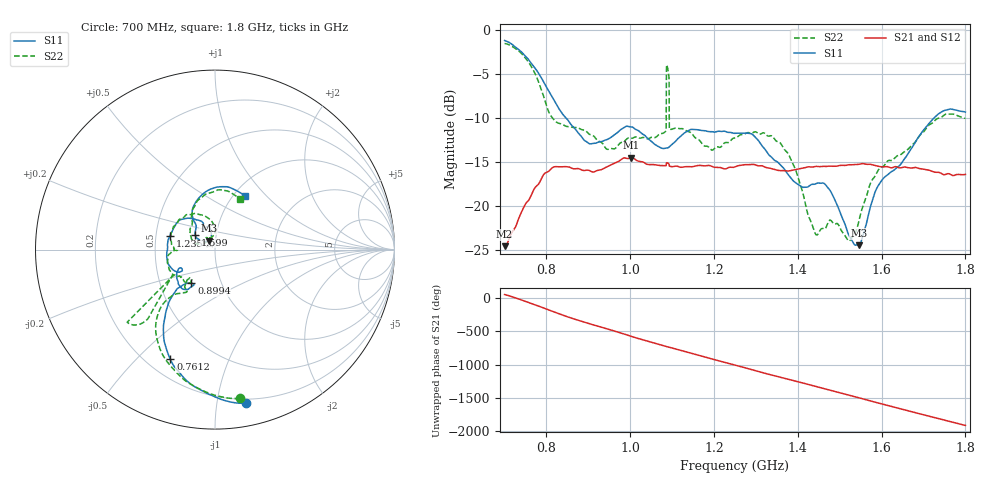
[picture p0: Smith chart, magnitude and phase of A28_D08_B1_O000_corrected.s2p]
! Created with skrf 1.9.0 (http://scikit-rf.org).
# Hz S RI R 50.0
!freq ReS11 ImS11 ReS21 ImS21 ReS12 ImS12 ReS22 ImS22
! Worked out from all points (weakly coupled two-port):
!   1601 points, 700 MHz to 1.8 GHz, reference 50 ohm
!   highest |S21| = -14.50 dB at 1.002 GHz (marker M1); lowest = -24.5 dB at 700 MHz (marker M2)
!   lowest |S11| = -24.4 dB at 1.546 GHz (marker M3), VSWR 1.13, Z = 46.4 + j4.56 ohm
!   |S11| at or under -10 dB: 847.3 MHz to 1.725 GHz (877.5 MHz wide, 68.2 % of centre)
!   |S22| runs from -24.0 to -1.5 dB; largest |S21 - S12| = 0.0037
!   S11 on the Smith chart (normalised r, x): 700 MHz: 0.17, -1.21; 761.2 MHz: 0.29, -0.63; 899.4 MHz: 0.72, -0.29; 1.235 GHz: 0.59, +0.10; 1.599 GHz: 0.79, +0.14; 1.8 GHz: 1.12, +0.76
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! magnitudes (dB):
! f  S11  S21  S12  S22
! 700 MHz  -1.2  -24.5  -24.3  -1.5
! 761.2 MHz  -3.6  -19.0  -18.9  -3.9
! 815.5 MHz  -7.7  -15.6  -15.7  -10.1
! 883.6 MHz  -12.1  -15.9  -15.8  -11.3
! 899.4 MHz  -12.8  -15.9  -15.9  -11.7
! 1.002 GHz  -11.0  -14.5  -14.6  -12.3
! 1.067 GHz  -13.2  -15.4  -15.3  -11.9
! 1.08 GHz  -13.4  -15.4  -15.4  -11.7
! 1.087 GHz  -13.4  -15.1  -15.0  -4.0
! 1.092 GHz  -13.3  -15.2  -15.2  -5.1
! 1.099 GHz  -13.0  -15.5  -15.5  -11.3
! 1.235 GHz  -11.6  -15.6  -15.7  -12.7
! 1.25 GHz  -11.7  -15.5  -15.5  -12.2
! 1.359 GHz  -15.3  -16.0  -15.9  -12.8
! 1.434 GHz  -17.5  -15.6  -15.5  -22.1
! 1.474 GHz  -18.0  -15.5  -15.5  -21.7
! 1.522 GHz  -23.3  -15.3  -15.3  -24.0
! 1.546 GHz  -24.4  -15.2  -15.2  -21.7
! 1.599 GHz  -17.1  -15.5  -15.5  -15.6
! 1.617 GHz  -16.3  -15.6  -15.5  -14.8
! 1.734 GHz  -9.6  -16.1  -16.2  -10.0
! 1.8 GHz  -9.3  -16.4  -16.4  -10.0
